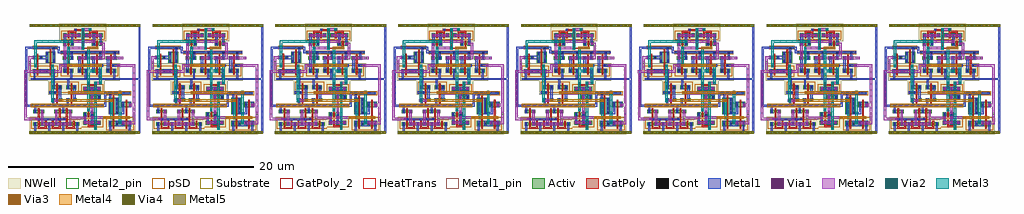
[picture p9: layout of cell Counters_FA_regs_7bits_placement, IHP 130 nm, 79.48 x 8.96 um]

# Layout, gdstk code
from math import pi, radians
import gdstk
lib = gdstk.Library(unit=1e-6, precision=5e-09)
def R(c, l, rs):  # rectangles x0, y0, x1, y1
    for r in rs: c.add(gdstk.rectangle(r[:2], r[2:], *l))
def A(c, l, x, y, w, h, nx, ny, dx, dy):  # array of equal rectangles
    R(c, l, [(x+i*dx, y+j*dy, x+i*dx+w, y+j*dy+h) for i in range(nx) for j in range(ny)])
Activ = (1, 0)
GatPoly = (5, 0)
GatPoly_2 = (5, 2)
Cont = (6, 0)
Metal1 = (8, 0)
Metal1_pin = (8, 2)
Metal2 = (10, 0)
Metal2_pin = (10, 2)
pSD = (14, 0)
Via1 = (19, 0)
Via2 = (29, 0)
Metal3 = (30, 0)
NWell = (31, 0)
Substrate = (40, 0)
Via3 = (49, 0)
Metal4 = (50, 0)
HeatTrans = (51, 0)
Via4 = (66, 0)
Metal5 = (67, 0)

pmos_3_2 = lib.new_cell('pmos$3$2')
R(pmos_3_2, Activ, [(0,-0.45,0.81,0), (0,-0.3,0.3,0), (0.51,-0.3,0.81,0)])
R(pmos_3_2, GatPoly, [(0.34,-0.63,0.47,0.18), (0.34,-0.63,0.47,0.18)])
R(pmos_3_2, Cont, [(0.07,-0.305,0.23,-0.145), (0.58,-0.305,0.74,-0.145)])
R(pmos_3_2, Metal1, [(0.07,-0.45,0.23,0), (0.07,-0.45,0.23,0), (0.58,-0.45,0.74,0), (0.58,-0.45,0.74,0)])
R(pmos_3_2, pSD, [(-0.18,-0.75,0.99,0.3)])
R(pmos_3_2, NWell, [(-0.31,-0.76,1.12,0.345)])
R(pmos_3_2, Substrate, [(0.51,-0.3,0.81,0)])
R(pmos_3_2, HeatTrans, [(0.34,-0.63,0.47,0.18)])
pmos_3_2.add(gdstk.Label('pmos', (0.405,-0.225), layer=63, texttype=0))
pmos_3_2.add(gdstk.Label('pmos', (0.405,-0.225), layer=51, texttype=0))

nmos_1_1_2 = lib.new_cell('nmos$1$1$2')
R(nmos_1_1_2, Activ, [(0,-1.35,0.81,0), (0,-0.3,0.3,0), (0.51,-0.3,0.81,0)])
R(nmos_1_1_2, GatPoly, [(0.34,-1.53,0.47,0.18)])
R(nmos_1_1_2, GatPoly_2, [(0.34,-1.53,0.47,0.18)])
A(nmos_1_1_2, Cont, 0.07, -1.28, 0.16, 0.16, 1, 4, 0, 0.35)
A(nmos_1_1_2, Cont, 0.58, -1.28, 0.16, 0.16, 1, 4, 0, 0.35)
R(nmos_1_1_2, Metal1, [(0.07,-1.35,0.23,0), (0.58,-1.35,0.74,0)])
R(nmos_1_1_2, Metal1_pin, [(0.07,-1.35,0.23,0), (0.58,-1.35,0.74,0)])
R(nmos_1_1_2, HeatTrans, [(0.34,-1.53,0.47,0.18)])
nmos_1_1_2.add(gdstk.Label('nmos', (0.405,-0.675), layer=63, texttype=0))
nmos_1_1_2.add(gdstk.Label('nmos', (0.405,-0.675), layer=51, texttype=0))

nmos_4_2 = lib.new_cell('nmos$4$2')
R(nmos_4_2, Activ, [(0,-0.45,0.81,0), (0,-0.3,0.3,0), (0.51,-0.3,0.81,0)])
R(nmos_4_2, GatPoly, [(0.34,-0.63,0.47,0.18)])
R(nmos_4_2, GatPoly_2, [(0.34,-0.63,0.47,0.18)])
R(nmos_4_2, Cont, [(0.07,-0.305,0.23,-0.145), (0.58,-0.305,0.74,-0.145)])
R(nmos_4_2, Metal1, [(0.07,-0.45,0.23,0), (0.58,-0.45,0.74,0)])
R(nmos_4_2, Metal1_pin, [(0.07,-0.45,0.23,0), (0.58,-0.45,0.74,0)])
R(nmos_4_2, HeatTrans, [(0.34,-0.63,0.47,0.18)])
nmos_4_2.add(gdstk.Label('nmos', (0.405,-0.225), layer=63, texttype=0))
nmos_4_2.add(gdstk.Label('nmos', (0.405,-0.225), layer=51, texttype=0))

nand_d3_2 = lib.new_cell('NAND_D3$2')
R(nand_d3_2, Activ, [(0.04,-2.265,1.9,-2.105), (-0.055,0.92,1.805,1.08)])
R(nand_d3_2, GatPoly, [(0.2,-1.075,0.4,-0.875), (0.4,-1.07,0.53,-0.78), (1.45,-1.07,1.58,-0.31), (1.58,-1.065,1.78,-0.865)])
R(nand_d3_2, Cont, [(0.13,-2.265,0.29,-2.105), (1.69,-2.265,1.85,-2.105), (0.22,-1.055,0.38,-0.895), (1.595,-1.045,1.755,-0.885), (0.13,0.92,0.29,1.08)])
R(nand_d3_2, Metal1, [(0.13,-2.265,0.29,-1.55), (1.69,-2.265,1.85,-1.55), (0.64,-1.7,1.34,-1.25), (0.22,-1.055,0.38,-0.895), (1.595,-1.045,1.755,-0.885), (1.69,-0.09,1.89,0.21), (0.13,0.545,0.29,1.08)])
R(nand_d3_2, Metal1_pin, [(0.13,-2.265,0.29,-2.105), (1.69,-2.265,1.85,-2.105), (0.22,-1.055,0.38,-0.895), (1.595,-1.045,1.755,-0.885), (0.13,0.92,0.29,1.08)])
R(nand_d3_2, Metal2, [(1.69,-0.035,2.24,0.165)])
R(nand_d3_2, Metal2_pin, [(2.04,-0.755,2.24,-0.565)])
R(nand_d3_2, pSD, [(-0.13,0.855,1.925,1.155)])
R(nand_d3_2, Via1, [(0.89,-1.505,1.08,-1.315), (1.69,-0.03,1.88,0.16)])
R(nand_d3_2, NWell, [(-0.25,-2.315,2.23,-2.01)])
nand_d3_2.add(gdstk.FlexPath([(1.26,-0.13),(1.26,-0.635),(0.72,-0.635),(0.72,-0.44)], 0.16, ends="flush", simple_path=True, layer=8, datatype=0))  # Metal1
nand_d3_2.add(gdstk.FlexPath([(0.885,-1.41),(2.14,-1.41),(2.14,0.165)], 0.2, ends="flush", simple_path=True, layer=10, datatype=0))  # Metal2
nand_d3_2.add(gdstk.Reference(pmos_3_2, (1.92,-1.25), rotation=pi, x_reflection=True))
nand_d3_2.add(gdstk.Reference(pmos_3_2, (0.87,-1.25), rotation=pi, x_reflection=True))
nand_d3_2.add(gdstk.Reference(nmos_1_1_2, (0.87,0.635), rotation=pi, x_reflection=True))
nand_d3_2.add(gdstk.Reference(nmos_4_2, (1.92,0.31), rotation=pi, x_reflection=True))
nand_d3_2.add(gdstk.Label('VA', (1.67,-0.98), layer=8, texttype=2))
nand_d3_2.add(gdstk.Label('VB', (0.305,-0.99), layer=8, texttype=2))
nand_d3_2.add(gdstk.Label('VDD', (1.715,-2.225), layer=8, texttype=2))
nand_d3_2.add(gdstk.Label('VDD', (0.155,-2.225), layer=8, texttype=2))
nand_d3_2.add(gdstk.Label('VSS', (0.2,0.955), layer=8, texttype=2))
nand_d3_2.add(gdstk.Label('VOUT', (2.185,-0.7), layer=10, texttype=2))
nand_d3_2.add(gdstk.Label('VB', (0.33,-1), layer=8, texttype=25))
nand_d3_2.add(gdstk.Label('VA', (1.7,-0.94), layer=8, texttype=25))

nmos_3_7 = lib.new_cell('nmos$3$7')
R(nmos_3_7, Activ, [(0,-0.25,0.3,0.05), (0.57,-0.25,0.87,0.05), (0,-0.175,0.87,-0.025)])
R(nmos_3_7, GatPoly, [(0.37,-0.585,0.5,0.155)])
R(nmos_3_7, GatPoly_2, [(0.37,-0.585,0.5,0.155)])
R(nmos_3_7, Cont, [(0.07,-0.18,0.23,-0.02), (0.64,-0.18,0.8,-0.02)])
R(nmos_3_7, Metal1, [(0.07,-0.23,0.23,0.03), (0.64,-0.23,0.8,0.03)])
R(nmos_3_7, Metal1_pin, [(0.07,-0.23,0.23,0.03), (0.64,-0.23,0.8,0.03)])
R(nmos_3_7, HeatTrans, [(0.37,-0.585,0.5,0.155)])
nmos_3_7.add(gdstk.Label('nmos', (0.435,-0.1), layer=63, texttype=0))
nmos_3_7.add(gdstk.Label('nmos', (0.435,-0.1), layer=51, texttype=0))

pmos_1_7 = lib.new_cell('pmos$1$7')
R(pmos_1_7, Activ, [(0,-0.505,0.81,-0.205), (0,-0.505,0.3,-0.205), (0.51,-0.505,0.81,-0.205)])
R(pmos_1_7, GatPoly, [(0.34,-0.685,0.47,-0.025), (0.34,-0.685,0.47,-0.025)])
R(pmos_1_7, Cont, [(0.07,-0.435,0.23,-0.275), (0.58,-0.435,0.74,-0.275)])
R(pmos_1_7, Metal1, [(0.07,-0.505,0.23,-0.205), (0.07,-0.505,0.23,-0.205), (0.58,-0.505,0.74,-0.205), (0.58,-0.505,0.74,-0.205)])
R(pmos_1_7, pSD, [(-0.18,-0.805,0.99,0.095)])
R(pmos_1_7, NWell, [(-0.31,-0.815,1.12,0.26)])
R(pmos_1_7, Substrate, [(0.51,-0.505,0.81,-0.205)])
R(pmos_1_7, HeatTrans, [(0.34,-0.685,0.47,-0.025)])
pmos_1_7.add(gdstk.Label('pmos', (0.405,-0.355), layer=63, texttype=0))
pmos_1_7.add(gdstk.Label('pmos', (0.405,-0.355), layer=51, texttype=0))

inv_d1_7 = lib.new_cell('INV_D1$7')
R(inv_d1_7, Activ, [(-0.61,-1.285,0.55,-1.125), (-0.63,0.89,0.545,1.05)])
R(inv_d1_7, GatPoly, [(-0.275,-0.22,-0.075,-0.02), (-0.075,-0.21,0.055,0.02)])
R(inv_d1_7, Cont, [(-0.345,-1.285,-0.185,-1.125), (-0.25,-0.2,-0.09,-0.04), (-0.375,0.89,-0.215,1.05)])
R(inv_d1_7, Metal1, [(-0.345,-1.285,-0.185,-0.69), (0.15,-0.69,0.355,0.64), (-0.255,-0.205,-0.085,-0.035), (-0.375,0.635,-0.215,1.05)])
R(inv_d1_7, Metal1_pin, [(-0.345,-1.285,-0.185,-1.125), (-0.375,0.89,-0.215,1.05)])
R(inv_d1_7, pSD, [(-0.67,0.83,0.6,1.11)])
R(inv_d1_7, NWell, [(-0.725,-1.335,0.705,-1)])
inv_d1_7.add(gdstk.Reference(nmos_3_7, (-0.445,0.605)))
inv_d1_7.add(gdstk.Reference(pmos_1_7, (-0.415,-0.185)))
inv_d1_7.add(gdstk.Label('VDD', (-0.215,-1.26), layer=8, texttype=2))
inv_d1_7.add(gdstk.Label('VSS', (-0.26,0.915), layer=8, texttype=2))
inv_d1_7.add(gdstk.Label('VIN', (-0.17,-0.135), layer=8, texttype=25))
inv_d1_7.add(gdstk.Label('VOUT', (0.255,-0.145), layer=8, texttype=25))

nmos_8 = lib.new_cell('nmos$8')
R(nmos_8, Activ, [(0,-0.325,0.3,-0.025), (0.57,-0.325,0.87,-0.025), (0,-0.25,0.87,-0.1)])
R(nmos_8, GatPoly, [(0.37,-0.43,0.5,0.08)])
R(nmos_8, GatPoly_2, [(0.37,-0.43,0.5,0.08)])
R(nmos_8, Cont, [(0.07,-0.255,0.23,-0.095), (0.64,-0.255,0.8,-0.095)])
R(nmos_8, Metal1, [(0.07,-0.305,0.23,-0.045), (0.64,-0.305,0.8,-0.045)])
R(nmos_8, Metal1_pin, [(0.07,-0.305,0.23,-0.045), (0.64,-0.305,0.8,-0.045)])
R(nmos_8, HeatTrans, [(0.37,-0.43,0.5,0.08)])
nmos_8.add(gdstk.Label('nmos', (0.435,-0.175), layer=63, texttype=0))
nmos_8.add(gdstk.Label('nmos', (0.435,-0.175), layer=51, texttype=0))

pmos_12 = lib.new_cell('pmos$12')
R(pmos_12, Activ, [(0,-0.26,0.3,0.04), (0.57,-0.26,0.87,0.04), (0,-0.185,0.87,-0.035)])
R(pmos_12, GatPoly, [(0.37,-0.365,0.5,0.145), (0.37,-0.365,0.5,0.145)])
R(pmos_12, Cont, [(0.07,-0.19,0.23,-0.03), (0.64,-0.19,0.8,-0.03)])
R(pmos_12, Metal1, [(0.07,-0.24,0.23,0.02), (0.07,-0.24,0.23,0.02), (0.64,-0.24,0.8,0.02), (0.64,-0.24,0.8,0.02)])
R(pmos_12, pSD, [(-0.18,-0.485,1.05,0.265)])
R(pmos_12, NWell, [(-0.31,-0.545,1.18,0.38)])
R(pmos_12, Substrate, [(0.57,-0.26,0.87,0.04)])
R(pmos_12, HeatTrans, [(0.37,-0.365,0.5,0.145)])
pmos_12.add(gdstk.Label('pmos', (0.435,-0.11), layer=63, texttype=0))
pmos_12.add(gdstk.Label('pmos', (0.435,-0.11), layer=51, texttype=0))

tg_2c_2 = lib.new_cell('TG_2C$2')
R(tg_2c_2, Activ, [(0.03,-2.165,2.035,-2.005), (0.15,0.01,1.91,0.17)])
R(tg_2c_2, GatPoly, [(1.225,-1.845,1.425,-1.645), (0.64,-0.35,0.84,-0.15)])
R(tg_2c_2, Cont, [(0.36,-2.165,0.52,-2.005), (1.245,-1.825,1.405,-1.665), (0.66,-0.33,0.82,-0.17), (0.37,0.01,0.53,0.17)])
R(tg_2c_2, Metal1, [(0.03,-2.165,2.35,-2.005), (1.245,-1.825,1.405,-1.665), (0.36,-1.395,0.56,-1.195), (1.5,-1.395,1.7,-1.195), (0.66,-0.33,0.82,-0.17), (0.15,0.01,1.91,0.17)])
R(tg_2c_2, Metal1_pin, [(0.355,-2.165,0.53,-2.005), (1.245,-1.825,1.405,-1.665), (0.95,-1.125,1.11,-0.97), (0.66,-0.33,0.82,-0.17), (0.355,0.01,0.52,0.17)])
R(tg_2c_2, Metal2, [(0.36,-1.395,1.7,-1.195)])
R(tg_2c_2, Metal2_pin, [(0.36,-1.395,0.56,-1.195)])
R(tg_2c_2, pSD, [(0.09,-0.05,1.985,0.23)])
R(tg_2c_2, Via1, [(0.365,-1.39,0.555,-1.2), (1.505,-1.39,1.695,-1.2)])
R(tg_2c_2, NWell, [(0,-2.215,2.06,-1.66)])
tg_2c_2.add(gdstk.FlexPath([(0.745,-1.48),(0.745,-1.58),(1.315,-1.58),(1.315,-1.48)], 0.13, ends="flush", simple_path=True, layer=5, datatype=0))  # GatPoly
tg_2c_2.add(gdstk.FlexPath([(0.46,-1.425),(0.46,-0.735)], 0.16, ends="flush", simple_path=True, layer=8, datatype=0))  # Metal1
tg_2c_2.add(gdstk.FlexPath([(1.03,-1.425),(1.03,-0.735)], 0.16, ends="flush", simple_path=True, layer=8, datatype=0))  # Metal1
tg_2c_2.add(gdstk.Reference(nmos_8, (0.31,-0.43)))
tg_2c_2.add(gdstk.Reference(pmos_12, (0.31,-1.185)))
tg_2c_2.add(gdstk.Reference(pmos_12, (0.88,-1.185)))
tg_2c_2.add(gdstk.Label('VOUT', (1.065,-1.07), layer=8, texttype=2))
tg_2c_2.add(gdstk.Label('VSS', (0.455,0.06), layer=8, texttype=2))
tg_2c_2.add(gdstk.Label('VDD', (0.465,-2.125), layer=8, texttype=2))
tg_2c_2.add(gdstk.Label('VIN', (0.505,-1.36), layer=10, texttype=2))
tg_2c_2.add(gdstk.Label('VOUT', (1.065,-1.015), layer=8, texttype=25))
tg_2c_2.add(gdstk.Label('VIN', (0.52,-1.29), layer=10, texttype=25))

nmos_5_2 = lib.new_cell('nmos$5$2')
R(nmos_5_2, Activ, [(0,-0.3,0.3,0), (0.57,-0.3,0.87,0), (0,-0.225,0.87,-0.075)])
R(nmos_5_2, GatPoly, [(0.37,-0.58,0.5,0.105)])
R(nmos_5_2, GatPoly_2, [(0.37,-0.58,0.5,0.105)])
R(nmos_5_2, Cont, [(0.07,-0.23,0.23,-0.07), (0.64,-0.23,0.8,-0.07)])
R(nmos_5_2, Metal1, [(0.07,-0.28,0.23,-0.02), (0.64,-0.28,0.8,-0.02)])
R(nmos_5_2, Metal1_pin, [(0.07,-0.28,0.23,-0.02), (0.64,-0.28,0.8,-0.02)])
R(nmos_5_2, HeatTrans, [(0.37,-0.58,0.5,0.105)])
nmos_5_2.add(gdstk.Label('nmos', (0.435,-0.15), layer=63, texttype=0))
nmos_5_2.add(gdstk.Label('nmos', (0.435,-0.15), layer=51, texttype=0))

pmos_4_2 = lib.new_cell('pmos$4$2')
R(pmos_4_2, Activ, [(0,-0.475,0.3,-0.175), (0.57,-0.475,0.87,-0.175), (0,-0.4,0.87,-0.25)])
R(pmos_4_2, GatPoly, [(0.37,-0.58,0.5,-0.07), (0.37,-0.58,0.5,-0.07)])
R(pmos_4_2, Cont, [(0.07,-0.405,0.23,-0.245), (0.64,-0.405,0.8,-0.245)])
R(pmos_4_2, Metal1, [(0.07,-0.455,0.23,-0.195), (0.07,-0.455,0.23,-0.195), (0.64,-0.455,0.8,-0.195), (0.64,-0.455,0.8,-0.195)])
R(pmos_4_2, pSD, [(-0.18,-0.7,1.05,0.05)])
R(pmos_4_2, NWell, [(-0.31,-0.845,1.18,0.275)])
R(pmos_4_2, Substrate, [(0.57,-0.475,0.87,-0.175)])
R(pmos_4_2, HeatTrans, [(0.37,-0.58,0.5,-0.07)])
pmos_4_2.add(gdstk.Label('pmos', (0.435,-0.325), layer=63, texttype=0))
pmos_4_2.add(gdstk.Label('pmos', (0.435,-0.325), layer=51, texttype=0))

inv_2 = lib.new_cell('INV$2')
R(inv_2, Activ, [(-0.6,-1.325,1.2,-1.165), (-0.6,0.85,1.235,1.01)])
R(inv_2, GatPoly, [(-0.045,-0.95,0.655,-0.82), (-0.045,-0.31,0.085,0.035)])
R(inv_2, GatPoly_2, [(-0.045,-0.255,0.085,-0.105)])
R(inv_2, Cont, [(-0.345,-1.325,-0.185,-1.165), (0.795,-1.325,0.955,-1.165), (-0.345,0.85,-0.185,1.01)])
R(inv_2, Metal1, [(-0.345,-1.325,-0.185,-0.435), (0.795,-1.325,0.955,-0.435), (0.205,-0.695,0.405,-0.435), (0.205,0.335,0.405,0.595), (-0.345,0.595,-0.185,1.01)])
R(inv_2, Metal1_pin, [(-0.345,-1.325,-0.185,-1.165), (0.795,-1.325,0.955,-1.165), (-0.345,0.85,-0.185,1.01)])
R(inv_2, Metal2, [(0.205,-0.665,0.405,0.57)])
R(inv_2, Metal2_pin, [(0.205,-0.265,0.405,-0.08)])
R(inv_2, pSD, [(-0.64,0.79,1.29,1.07)])
R(inv_2, Via1, [(0.21,-0.66,0.4,-0.47), (0.205,0.37,0.395,0.56)])
R(inv_2, NWell, [(-0.725,-1.375,1.335,-1.085)])
inv_2.add(gdstk.Reference(nmos_5_2, (-0.415,0.615)))
r = gdstk.Reference(pmos_4_2, (-0.415,-0.24)); r.repetition = gdstk.Repetition(2, 1, v1=(0.57,0), v2=(0,0)); inv_2.add(r)

inv_d3_2 = lib.new_cell('INV_D3$2')
R(inv_d3_2, GatPoly, [(-1.05,-0.4,-0.85,-0.2), (0.66,-0.4,0.86,-0.2), (1.23,-0.4,1.43,-0.2)])
R(inv_d3_2, Cont, [(-1.03,-0.38,-0.87,-0.22), (0.68,-0.38,0.84,-0.22), (1.25,-0.38,1.41,-0.22), (-1.15,0.705,-0.99,0.865)])
R(inv_d3_2, Metal1, [(-1.03,-0.38,1.41,-0.22), (-1.03,-0.38,-0.87,-0.22), (0.68,-0.38,0.84,-0.22), (1.25,-0.38,1.41,-0.22)])
R(inv_d3_2, Metal1_pin, [(-1.15,-1.47,-0.99,-1.31), (-1.03,-0.38,-0.87,-0.22), (0.68,-0.38,0.84,-0.22), (1.25,-0.38,1.41,-0.22), (-1.15,0.705,-0.99,0.865)])
R(inv_d3_2, Metal2, [(-0.6,-0.81,1.88,-0.61)])
r = gdstk.Reference(inv_2, (-0.805,-0.145)); r.repetition = gdstk.Repetition(2, 1, v1=(2.28,0), v2=(0,0)); inv_d3_2.add(r)
inv_d3_2.add(gdstk.Reference(inv_2, (0.945,-0.145), rotation=pi, x_reflection=True))
inv_d3_2.add(gdstk.Label('VIN', (-0.92,-0.33), layer=8, texttype=2))
inv_d3_2.add(gdstk.Label('VIN', (-0.92,-0.33), layer=8, texttype=2))
inv_d3_2.add(gdstk.Label('VIN', (-0.92,-0.33), layer=8, texttype=2))
inv_d3_2.add(gdstk.Label('VDD', (-1.02,-1.445), layer=8, texttype=2))
inv_d3_2.add(gdstk.Label('VSS', (-1.035,0.73), layer=8, texttype=2))
inv_d3_2.add(gdstk.Label('VOUT', (1.83,-0.365), layer=10, texttype=2))

via1_constraint_2 = lib.new_cell('VIA1_constraint$2')
R(via1_constraint_2, Metal1, [(-0.005,-0.195,0.195,0.005)])
R(via1_constraint_2, Metal2, [(-0.005,-0.195,0.195,0.005)])
R(via1_constraint_2, Via1, [(0,-0.19,0.19,0)])

via2_constraint_2 = lib.new_cell('VIA2_constraint$2')
R(via2_constraint_2, Metal2, [(0.04,0.37,0.24,0.57)])
R(via2_constraint_2, Via2, [(0.045,0.375,0.235,0.565)])
R(via2_constraint_2, Metal3, [(0.04,0.37,0.24,0.57)])

via3_constraint_2 = lib.new_cell('VIA3_constraint$2')
R(via3_constraint_2, Metal3, [(-0.005,-0.195,0.195,0.005)])
R(via3_constraint_2, Via3, [(0,-0.19,0.19,0)])
R(via3_constraint_2, Metal4, [(-0.005,-0.195,0.195,0.005)])

half_b_2 = lib.new_cell('HALF_B$2')
R(half_b_2, Metal1, [(2.8,-0.185,4.09,-0.025), (4.995,0.55,5.195,1.505), (5.56,0.555,5.76,1.505), (6.31,0.98,8.19,1.14), (0.105,1.99,4.21,2.15), (4.995,2.635,5.195,3.585), (0.115,4.165,4.09,4.325), (6.405,4.165,8.28,4.325)])
R(half_b_2, Metal2, [(3.545,0.93,5.76,1.13), (4.995,1.245,5.195,2.715), (4.985,2.925,6.205,3.125), (3.21,2.965,4.615,3.165)])
R(half_b_2, Metal3, [(4.695,0.13,4.895,2.53), (4.695,0.13,4.895,2.53), (7.255,0.84,7.455,3.58), (5.28,1.625,5.48,4.01)])
R(half_b_2, Metal4, [(3.145,0.88,7.49,1.08), (5.98,2.925,8.15,3.125)])
half_b_2.add(gdstk.Reference(nand_d3_2, (6.37,2.06), x_reflection=True))
half_b_2.add(gdstk.Reference(inv_d1_7, (3.415,1.1)))
half_b_2.add(gdstk.Reference(tg_2c_2, (4.055,2.16), x_reflection=True))
half_b_2.add(gdstk.Reference(tg_2c_2, (6.12,1.98), rotation=pi, x_reflection=True))
half_b_2.add(gdstk.Reference(inv_d3_2, (1.53,2.855), x_reflection=True))
half_b_2.add(gdstk.Reference(via1_constraint_2, (5.475,4), rotation=pi, x_reflection=True))
half_b_2.add(gdstk.Reference(via1_constraint_2, (5.19,2.485), rotation=pi))
half_b_2.add(gdstk.Reference(via1_constraint_2, (4.415,3.16)))
half_b_2.add(gdstk.Reference(via1_constraint_2, (3.57,1.125)))
half_b_2.add(gdstk.Reference(via2_constraint_2, (4.655,-0.235)))
half_b_2.add(gdstk.Reference(via1_constraint_2, (5.475,1.825), rotation=pi, x_reflection=True))
half_b_2.add(gdstk.Reference(via1_constraint_2, (4.7,2.505)))
half_b_2.add(gdstk.Reference(via2_constraint_2, (4.655,1.94)))
half_b_2.add(gdstk.Reference(via2_constraint_2, (4.655,-0.235)))
half_b_2.add(gdstk.Reference(via1_constraint_2, (4.7,2.505)))
half_b_2.add(gdstk.Reference(via2_constraint_2, (4.655,1.94)))
half_b_2.add(gdstk.Reference(via2_constraint_2, (7.215,3.01)))
half_b_2.add(gdstk.Reference(via1_constraint_2, (3.15,1.075)))
half_b_2.add(gdstk.Reference(via2_constraint_2, (3.105,0.51)))
half_b_2.add(gdstk.Reference(via3_constraint_2, (3.15,1.075)))
half_b_2.add(gdstk.Reference(via3_constraint_2, (7.26,1.07)))
half_b_2.add(gdstk.Reference(via1_constraint_2, (5.19,1.27), rotation=pi))
half_b_2.add(gdstk.Reference(via1_constraint_2, (5.565,1.125)))
half_b_2.add(gdstk.Reference(via1_constraint_2, (4.7,0.33)))
half_b_2.add(gdstk.Reference(via2_constraint_2, (5.24,1.26)))
half_b_2.add(gdstk.Reference(via2_constraint_2, (5.24,3.435)))
half_b_2.add(gdstk.Reference(via1_constraint_2, (5,3.12)))
half_b_2.add(gdstk.Reference(via2_constraint_2, (5.955,2.555)))
half_b_2.add(gdstk.Reference(via3_constraint_2, (6,3.12)))
half_b_2.add(gdstk.Reference(via1_constraint_2, (7.955,3.12)))
half_b_2.add(gdstk.Reference(via2_constraint_2, (7.91,2.555)))
half_b_2.add(gdstk.Reference(via3_constraint_2, (7.955,3.12)))

pmos_2_6 = lib.new_cell('pmos$2$6')
R(pmos_2_6, Activ, [(0,-0.3,0.81,0), (0,-0.3,0.3,0), (0.51,-0.3,0.81,0)])
R(pmos_2_6, GatPoly, [(0.34,-0.48,0.47,0.18), (0.34,-0.48,0.47,0.18)])
R(pmos_2_6, Cont, [(0.07,-0.23,0.23,-0.07), (0.58,-0.23,0.74,-0.07)])
R(pmos_2_6, Metal1, [(0.07,-0.3,0.23,0), (0.07,-0.3,0.23,0), (0.58,-0.3,0.74,0), (0.58,-0.3,0.74,0)])
R(pmos_2_6, pSD, [(-0.18,-0.6,0.99,0.3)])
R(pmos_2_6, NWell, [(-0.31,-0.61,1.12,0.31)])
R(pmos_2_6, Substrate, [(0.51,-0.3,0.81,0)])
R(pmos_2_6, HeatTrans, [(0.34,-0.48,0.47,0.18)])
pmos_2_6.add(gdstk.Label('pmos', (0.405,-0.15), layer=63, texttype=0))
pmos_2_6.add(gdstk.Label('pmos', (0.405,-0.15), layer=51, texttype=0))

nmos_1_7 = lib.new_cell('nmos$1$7')
R(nmos_1_7, Activ, [(0,-0.9,0.81,0), (0,-0.3,0.3,0), (0.51,-0.3,0.81,0)])
R(nmos_1_7, GatPoly, [(0.34,-1.08,0.47,0.18)])
R(nmos_1_7, GatPoly_2, [(0.34,-1.08,0.47,0.18)])
R(nmos_1_7, Cont, [(0.07,-0.83,0.23,-0.67), (0.58,-0.83,0.74,-0.67), (0.07,-0.23,0.23,-0.07), (0.58,-0.23,0.74,-0.07)])
R(nmos_1_7, Metal1, [(0.07,-0.9,0.23,0), (0.58,-0.9,0.74,0)])
R(nmos_1_7, Metal1_pin, [(0.07,-0.9,0.23,0), (0.58,-0.9,0.74,0)])
R(nmos_1_7, HeatTrans, [(0.34,-1.08,0.47,0.18)])
nmos_1_7.add(gdstk.Label('nmos', (0.405,-0.45), layer=63, texttype=0))
nmos_1_7.add(gdstk.Label('nmos', (0.405,-0.45), layer=51, texttype=0))

nmos_2_2 = lib.new_cell('nmos$2$2')
R(nmos_2_2, Activ, [(0,-0.3,0.81,0), (0,-0.3,0.3,0), (0.51,-0.3,0.81,0)])
R(nmos_2_2, GatPoly, [(0.34,-0.48,0.47,0.18)])
R(nmos_2_2, GatPoly_2, [(0.34,-0.48,0.47,0.18)])
R(nmos_2_2, Cont, [(0.07,-0.23,0.23,-0.07), (0.58,-0.23,0.74,-0.07)])
R(nmos_2_2, Metal1, [(0.07,-0.3,0.23,0), (0.58,-0.3,0.74,0)])
R(nmos_2_2, Metal1_pin, [(0.07,-0.3,0.23,0), (0.58,-0.3,0.74,0)])
R(nmos_2_2, HeatTrans, [(0.34,-0.48,0.47,0.18)])
nmos_2_2.add(gdstk.Label('nmos', (0.405,-0.15), layer=63, texttype=0))
nmos_2_2.add(gdstk.Label('nmos', (0.405,-0.15), layer=51, texttype=0))

nand_d2_2 = lib.new_cell('NAND_D2$2')
R(nand_d2_2, Activ, [(0.04,-2.115,1.9,-1.955), (-0.055,0.435,1.805,0.595)])
R(nand_d2_2, GatPoly, [(0.2,-1.075,0.4,-0.875), (0.4,-1.07,0.53,-0.78), (1.45,-1.07,1.58,-0.44), (1.58,-1.065,1.78,-0.865)])
R(nand_d2_2, Cont, [(0.13,-2.115,0.29,-1.955), (1.69,-2.115,1.85,-1.955), (0.22,-1.055,0.38,-0.895), (1.595,-1.045,1.755,-0.885), (0.13,0.435,0.29,0.595)])
R(nand_d2_2, Metal1, [(0.13,-2.115,0.29,-1.55), (1.69,-2.115,1.85,-1.55), (0.64,-1.55,1.34,-1.25), (0.22,-1.055,0.38,-0.895), (1.595,-1.045,1.755,-0.885), (0.64,-0.44,1.34,-0.14), (1.69,-0.44,1.89,-0.14), (0.13,0.185,0.29,0.595), (-0.055,0.435,1.805,0.595)])
R(nand_d2_2, Metal1_pin, [(0.13,-2.115,0.29,-1.955), (1.69,-2.115,1.85,-1.955), (0.22,-1.055,0.38,-0.895), (1.595,-1.045,1.755,-0.885), (0.13,0.435,0.29,0.595)])
R(nand_d2_2, Metal2, [(1.69,-0.385,2.27,-0.185)])
R(nand_d2_2, Metal2_pin, [(2.07,-0.76,2.27,-0.57)])
R(nand_d2_2, pSD, [(-0.13,0.37,1.925,0.67)])
R(nand_d2_2, Via1, [(0.89,-1.505,1.08,-1.315), (1.69,-0.38,1.88,-0.19)])
R(nand_d2_2, NWell, [(-0.25,-2.165,2.23,-1.86)])
nand_d2_2.add(gdstk.FlexPath([(0.885,-1.41),(2.17,-1.41),(2.17,-0.185)], 0.2, ends="flush", simple_path=True, layer=10, datatype=0))  # Metal2
nand_d2_2.add(gdstk.Reference(pmos_2_6, (1.92,-1.25), rotation=pi, x_reflection=True))
nand_d2_2.add(gdstk.Reference(pmos_2_6, (0.87,-1.25), rotation=pi, x_reflection=True))
nand_d2_2.add(gdstk.Reference(nmos_1_7, (0.87,0.185), rotation=pi, x_reflection=True))
nand_d2_2.add(gdstk.Reference(nmos_2_2, (1.92,-0.14), rotation=pi, x_reflection=True))
nand_d2_2.add(gdstk.Label('VA', (1.665,-1.02), layer=8, texttype=2))
nand_d2_2.add(gdstk.Label('VB', (0.32,-0.99), layer=8, texttype=2))
nand_d2_2.add(gdstk.Label('VDD', (1.715,-2.075), layer=8, texttype=2))
nand_d2_2.add(gdstk.Label('VDD', (0.155,-2.075), layer=8, texttype=2))
nand_d2_2.add(gdstk.Label('VSS', (0.2,0.47), layer=8, texttype=2))
nand_d2_2.add(gdstk.Label('VOUT', (2.215,-0.705), layer=10, texttype=2))
nand_d2_2.add(gdstk.Label('VA', (1.67,-0.9), layer=8, texttype=25))
nand_d2_2.add(gdstk.Label('VB', (0.28,-0.92), layer=8, texttype=25))

half_a_2 = lib.new_cell('HALF_A$2')
R(half_a_2, Metal1, [(8.26,-8.595,12.915,-8.435), (8.315,-7.53,8.79,-7.33), (7.045,-6.42,10.655,-6.26), (7.845,-5.775,8.045,-4.825), (9.605,-5.775,9.805,-4.825), (10.19,-5.775,10.405,-4.825)])
R(half_a_2, Metal2, [(10.56,-7.99,11.895,-7.79), (10.56,-7.99,10.76,-7.33), (9.74,-7.53,10.76,-7.33), (10.205,-6.925,10.41,-5.52), (8.735,-6.1,10.095,-5.9), (7.845,-5.545,9.805,-5.345), (8.14,-4.6,8.935,-4.4)])
R(half_a_2, Metal3, [(12.59,-7.545,12.79,-5.345), (8.735,-6.12,8.935,-4.4), (9.605,-5.545,12.79,-5.345)])
half_a_2.add(gdstk.FlexPath([(7.755,-6),(8.835,-6),(8.83,-4.505),(9.325,-4.505)], 0.1, ends="flush", simple_path=True, layer=5, datatype=0))  # GatPoly
half_a_2.add(gdstk.FlexPath([(7.155,-5.545),(7.155,-6.815),(9.235,-6.815)], 0.2, ends="flush", simple_path=True, layer=10, datatype=0))  # Metal2
half_a_2.add(gdstk.Reference(inv_d1_7, (8.88,-7.31)))
half_a_2.add(gdstk.Reference(tg_2c_2, (6.93,-6.25), x_reflection=True))
half_a_2.add(gdstk.Reference(tg_2c_2, (10.75,-6.25), rotation=pi))
half_a_2.add(gdstk.Reference(nand_d2_2, (11.01,-6.48)))
half_a_2.add(gdstk.Reference(via1_constraint_2, (9.61,-5.54), x_reflection=True))
half_a_2.add(gdstk.Reference(via1_constraint_2, (8.16,-4.595), x_reflection=True))
half_a_2.add(gdstk.Reference(via1_constraint_2, (9.915,-6.095), x_reflection=True))
half_a_2.add(gdstk.Reference(via2_constraint_2, (8.69,-4.025), x_reflection=True))
half_a_2.add(gdstk.Reference(via2_constraint_2, (8.695,-5.53), x_reflection=True))
half_a_2.add(gdstk.Reference(via1_constraint_2, (7.85,-5.54), x_reflection=True))
half_a_2.add(gdstk.Reference(via1_constraint_2, (9.035,-6.91), x_reflection=True))
half_a_2.add(gdstk.Reference(via1_constraint_2, (7.29,-5.55)))
half_a_2.add(gdstk.Reference(via1_constraint_2, (9.745,-7.335)))
half_a_2.add(gdstk.Reference(inv_d1_7, (10.055,-7.31)))
half_a_2.add(gdstk.Reference(via1_constraint_2, (10.215,-6.48)))
half_a_2.add(gdstk.Reference(via1_constraint_2, (10.205,-5.555)))
half_a_2.add(gdstk.Reference(via2_constraint_2, (9.565,-5.915)))
half_a_2.add(gdstk.Reference(via2_constraint_2, (12.55,-7.915)))
half_a_2.add(gdstk.Reference(via1_constraint_2, (12.595,-7.35)))

ff_d_placement_2 = lib.new_cell('FF_D_placement$2')
ff_d_placement_2.add(gdstk.Reference(half_b_2, (6.22,-0.005), x_reflection=True))
ff_d_placement_2.add(gdstk.Reference(inv_d1_7, (8.46,-1.105), x_reflection=True))
ff_d_placement_2.add(gdstk.Reference(inv_d1_7, (11.685,1.305), rotation=pi, x_reflection=True))
ff_d_placement_2.add(gdstk.Reference(half_a_2, (19.4,8.615), rotation=pi, x_reflection=True))
ff_d_placement_2.add(gdstk.Reference(inv_d1_7, (12.855,1.305), rotation=pi, x_reflection=True))

ff_d_routed_2 = lib.new_cell('FF_D_routed$2')
R(ff_d_routed_2, Activ, [(6.335,-4.33,14.615,-4.17), (6.315,0.02,12.31,0.18)])
R(ff_d_routed_2, Metal1, [(6.335,-4.33,14.82,-4.17), (6.3,0.02,13.455,0.18), (11.76,1.085,12.215,1.285), (12.945,1.085,13.565,1.285), (11.775,1.105,12.21,1.265), (12.355,2.195,13.53,2.355)])
R(ff_d_routed_2, Metal2, [(5.77,-3.255,6.9,-3.055), (5.77,-3.255,5.97,0.825), (14.63,-2.1,14.83,1.285), (7.97,-1.745,8.815,-1.545), (11.5,-0.335,12.105,-0.135), (5.765,0.625,6.7,0.825), (13.365,1.085,14.83,1.285), (12.5,1.7,13.845,1.9), (11.915,2.87,12.345,3.07)])
R(ff_d_routed_2, Metal3, [(7.99,-1.79,8.19,1.26), (11.5,-1.63,11.7,-0.135), (11.905,-0.33,12.105,1.31), (10.915,0.665,11.115,2.735), (9.29,1.085,9.49,2.715)])
R(ff_d_routed_2, Metal4, [(8.615,-1.75,12.995,-1.54), (9.29,1.095,12.1,1.295), (10.9,2.515,11.83,2.715)])
ff_d_routed_2.add(gdstk.FlexPath([(8.445,2.65),(8.605,2.65),(8.605,2.275),(8.755,2.275)], 0.16, ends="flush", simple_path=True, layer=8, datatype=0))  # Metal1
ff_d_routed_2.add(gdstk.FlexPath([(12.53,-1.065),(12.375,-1.065),(12.375,-2.075),(12.17,-2.075)], 0.16, ends="flush", simple_path=True, layer=8, datatype=0))  # Metal1
ff_d_routed_2.add(gdstk.FlexPath([(12.89,-1.49),(12.89,-3.18)], 0.2, ends="flush", simple_path=True, layer=30, datatype=0))  # Metal3
ff_d_routed_2.add(gdstk.FlexPath([(11.015,-0.135),(11.015,0.765),(11.53,0.765)], 0.2, ends="flush", simple_path=True, layer=30, datatype=0))  # Metal3
ff_d_routed_2.add(gdstk.Reference(ff_d_placement_2, (0,0)))
ff_d_routed_2.add(gdstk.Reference(via1_constraint_2, (6.705,-3.06)))
ff_d_routed_2.add(gdstk.Reference(via1_constraint_2, (13.56,1.28), rotation=pi, x_reflection=True))
ff_d_routed_2.add(gdstk.Reference(via1_constraint_2, (12.505,1.895)))
ff_d_routed_2.add(gdstk.Reference(via1_constraint_2, (8.62,-1.55)))
ff_d_routed_2.add(gdstk.Reference(via2_constraint_2, (8.575,-2.115)))
ff_d_routed_2.add(gdstk.Reference(via3_constraint_2, (8.62,-1.55)))
ff_d_routed_2.add(gdstk.Reference(via1_constraint_2, (12.795,-2.945)))
ff_d_routed_2.add(gdstk.Reference(via3_constraint_2, (12.795,-1.55)))
ff_d_routed_2.add(gdstk.Reference(via2_constraint_2, (12.75,-3.51)))
ff_d_routed_2.add(gdstk.Reference(via1_constraint_2, (7.995,1.255)))
ff_d_routed_2.add(gdstk.Reference(via2_constraint_2, (7.95,0.69)))
ff_d_routed_2.add(gdstk.Reference(via2_constraint_2, (7.95,-2.115)))
ff_d_routed_2.add(gdstk.Reference(via2_constraint_2, (11.29,0.295)))
ff_d_routed_2.add(gdstk.Reference(via1_constraint_2, (11.335,0.86)))
ff_d_routed_2.add(gdstk.Reference(via1_constraint_2, (11.91,1.28)))
ff_d_routed_2.add(gdstk.Reference(via2_constraint_2, (11.865,0.715)))
ff_d_routed_2.add(gdstk.Reference(via2_constraint_2, (11.865,-0.705)))
ff_d_routed_2.add(gdstk.Reference(via2_constraint_2, (11.46,-0.705)))
ff_d_routed_2.add(gdstk.Reference(via2_constraint_2, (11.59,2.145)))
ff_d_routed_2.add(gdstk.Reference(via1_constraint_2, (11.635,2.71)))
ff_d_routed_2.add(gdstk.Reference(via3_constraint_2, (9.295,1.29)))
ff_d_routed_2.add(gdstk.Reference(via2_constraint_2, (11.005,3.645)))
ff_d_routed_2.add(gdstk.Reference(via2_constraint_2, (9.25,2.145)))
ff_d_routed_2.add(gdstk.Reference(via3_constraint_2, (11.905,1.29)))
ff_d_routed_2.add(gdstk.Reference(via3_constraint_2, (10.92,2.71)))
ff_d_routed_2.add(gdstk.Reference(via3_constraint_2, (11.635,2.71)))

via4_constraint_2 = lib.new_cell('VIA4_constraint$2')
R(via4_constraint_2, Metal4, [(0,-0.2,0.2,0)])
R(via4_constraint_2, Via4, [(0.005,-0.195,0.195,-0.005)])
R(via4_constraint_2, Metal5, [(0,-0.2,0.2,0)])

power_rail_wide_3 = lib.new_cell('Power_Rail_Wide$3')
R(power_rail_wide_3, Metal1, [(0,-0.2,1.8,0)])
R(power_rail_wide_3, Metal2, [(0,-0.2,1.805,0)])
R(power_rail_wide_3, Metal3, [(0,-0.2,1.805,0)])
R(power_rail_wide_3, Metal4, [(0,-0.2,1.805,0)])
R(power_rail_wide_3, Metal5, [(0,-0.2,1.805,0)])
r = gdstk.Reference(via1_constraint_2, (0.035,-0.005)); r.repetition = gdstk.Repetition(3, 1, v1=(0.6,0), v2=(0,0)); power_rail_wide_3.add(r)
r = gdstk.Reference(via1_constraint_2, (0.035,-0.005)); r.repetition = gdstk.Repetition(3, 1, v1=(0.6,0), v2=(0,0)); power_rail_wide_3.add(r)
r = gdstk.Reference(via2_constraint_2, (0.285,-0.57)); r.repetition = gdstk.Repetition(3, 1, v1=(0.6,0), v2=(0,0)); power_rail_wide_3.add(r)
r = gdstk.Reference(via3_constraint_2, (0.035,-0.005)); r.repetition = gdstk.Repetition(3, 1, v1=(0.6,0), v2=(0,0)); power_rail_wide_3.add(r)
r = gdstk.Reference(via4_constraint_2, (0.03,0)); r.repetition = gdstk.Repetition(3, 1, v1=(0.6,0), v2=(0,0)); power_rail_wide_3.add(r)

ff_d_2 = lib.new_cell('FF_D$2')
R(ff_d_2, Metal1, [(9.05,-8.91,9.485,-8.75), (9.325,-8.91,9.485,-0.01), (0.1,-6.735,0.615,-6.575), (0.1,-6.735,0.265,-1.85), (2.065,-5.665,2.62,-5.465), (7.655,-4.56,9.485,-4.41), (4.845,-3.495,5.32,-3.295), (5.995,-3.495,6.45,-3.295), (0.1,-2.01,0.85,-1.85)])
R(ff_d_2, Metal1_pin, [(9.325,-8.91,9.485,-8.75), (0.1,-6.735,0.265,-6.56), (2.065,-5.665,2.265,-5.465), (5.13,-3.495,5.32,-3.295), (6.265,-3.495,6.45,-3.295)])
R(ff_d_2, Metal2_pin, [(7.88,-2.88,8.08,-2.68)])
R(ff_d_2, NWell, [(0.455,-8.96,9.055,-7.55), (0.395,-4.61,7.815,-3.2)])
R(ff_d_2, Metal4, [(0.54,-6.795,6.495,-6.505)])
ff_d_2.add(gdstk.Reference(ff_d_routed_2, (-5.765,-4.58)))
r = gdstk.Reference(power_rail_wide_3, (0.48,-0.01)); r.repetition = gdstk.Repetition(5, 1, v1=(1.8,0), v2=(0,0)); ff_d_2.add(r)
r = gdstk.Reference(power_rail_wide_3, (0.44,-8.75)); r.repetition = gdstk.Repetition(5, 1, v1=(1.8,0), v2=(0,0)); ff_d_2.add(r)
ff_d_2.add(gdstk.Label('VCLK', (6.43,-3.485), layer=8, texttype=0))
ff_d_2.add(gdstk.Label('VSS', (0.22,-6.685), layer=8, texttype=2))
ff_d_2.add(gdstk.Label('VDD', (9.435,-8.855), layer=8, texttype=2))
ff_d_2.add(gdstk.Label('VRESET', (2.085,-5.65), layer=8, texttype=2))
ff_d_2.add(gdstk.Label('VD', (5.145,-3.48), layer=8, texttype=2))
ff_d_2.add(gdstk.Label('VQN', (8.035,-2.84), layer=10, texttype=2))
ff_d_2.add(gdstk.Label('VRESET', (2.195,-5.615), layer=8, texttype=25))
ff_d_2.add(gdstk.Label('VD', (5.2,-3.415), layer=8, texttype=25))
ff_d_2.add(gdstk.Label('VCLK', (6.375,-3.35), layer=8, texttype=25))

ff_d__track__2 = lib.new_cell('FF_D$(Track)$2')
ff_d__track__2.add(gdstk.Reference(ff_d_2, (0,8.96)))

counters_fa_regs_7bits_p = lib.new_cell('Counters_FA_regs_7bits_placement')
r = gdstk.Reference(ff_d__track__2, (0,0)); r.repetition = gdstk.Repetition(8, 1, v1=(10,0), v2=(0,0)); counters_fa_regs_7bits_p.add(r)

lib.write_gds('Counters_FA_regs_7bits_placement.gds')
